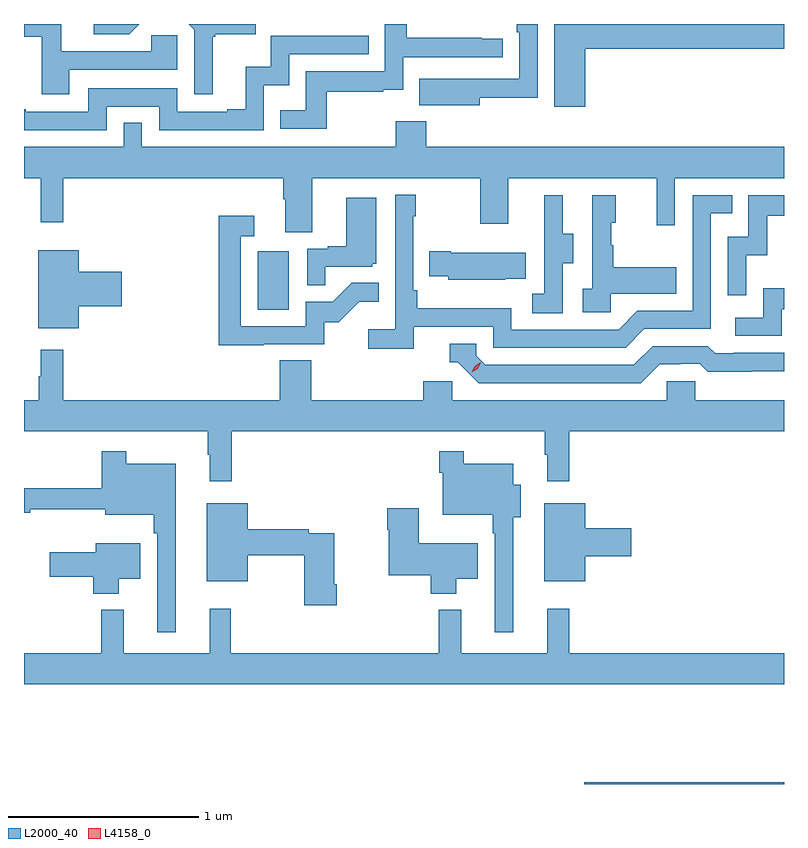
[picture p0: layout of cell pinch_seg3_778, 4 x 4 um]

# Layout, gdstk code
import gdstk
lib = gdstk.Library(unit=1e-6, precision=1e-09)
def R(c, l, rs):  # rectangles x0, y0, x1, y1
    for r in rs: c.add(gdstk.rectangle(r[:2], r[2:], *l))
def P(c, l, *ps):  # polygons
    for p in ps: c.add(gdstk.Polygon(p, *l))
L2000_40 = (2000, 40)
L4158_0 = (4158, 0)

pinch_seg3_778 = lib.new_cell('pinch_seg3_778')
R(pinch_seg3_778, L2000_40, [(820.829,723.035,821.881,723.044), (819.11,725.532,819.274,725.839)])
P(pinch_seg3_778, L2000_40, [(820.834,726.904),(821.881,726.904),(821.881,727.035),(820.673,727.035),(820.673,726.6),(820.834,726.6)],
  [(818.875,726.969),(818.887,726.969),(818.887,726.98),(819.1,726.98),(819.1,727.035),(818.748,727.035),(818.778,727.005),(818.778,726.666),(818.875,726.666)],
  [(818.488,727.035),(818.247,727.035),(818.247,726.981),(818.434,726.981)],
  [(819.475,726.678),(819.773,726.678),(819.773,726.689),(819.876,726.689),(819.876,726.861),(820.402,726.861),(820.402,726.957),(820.289,726.957),(820.289,726.962),(819.896,726.962),(819.896,727.035),(819.78,727.035),(819.78,726.786),(819.364,726.786),(819.364,726.58),(819.229,726.58),(819.229,726.483),(819.475,726.483)],
  [(818.119,726.795),(818.688,726.795),(818.688,726.975),(818.551,726.975),(818.551,726.891),(818.077,726.891),(818.077,727.035),(817.881,727.035),(817.881,726.969),(817.975,726.969),(817.975,726.666),(818.119,726.666)],
  [(820.279,726.646),(820.584,726.646),(820.584,727.035),(820.475,727.035),(820.475,726.992),(820.488,726.992),(820.488,726.747),(820.175,726.747),(820.175,726.748),(819.961,726.748),(819.961,726.608),(820.279,726.608)],
  [(818.316,726.6),(818.592,726.6),(818.592,726.477),(819.144,726.477),(819.144,726.713),(819.276,726.713),(819.276,726.876),(819.695,726.876),(819.695,726.972),(819.18,726.972),(819.18,726.811),(819.047,726.811),(819.047,726.586),(818.951,726.586),(818.951,726.573),(818.688,726.573),(818.688,726.696),(818.22,726.696),(818.22,726.573),(817.891,726.573),(817.891,726.586),(817.881,726.586),(817.881,726.477),(818.316,726.477)],
  [(819.397,726.224),(820.282,726.224),(820.282,725.985),(820.429,725.985),(820.429,726.224),(821.21,726.224),(821.21,725.976),(821.307,725.976),(821.307,726.224),(821.881,726.224),(821.881,726.388),(819.998,726.388),(819.998,726.523),(819.838,726.523),(819.838,726.388),(818.502,726.388),(818.502,726.515),(818.406,726.515),(818.406,726.388),(817.881,726.388),(817.881,726.224),(817.97,726.224),(817.97,725.991),(818.087,725.991),(818.087,726.224),(819.245,726.224),(819.245,726.112),(819.257,726.112),(819.257,725.938),(819.397,725.938)],
  [(819.932,725.442),(820.35,725.442),(820.35,725.331),(821.047,725.331),(821.146,725.43),(821.496,725.43),(821.496,726.039),(821.609,726.039),(821.609,726.135),(821.4,726.135),(821.4,725.526),(821.109,725.526),(821.01,725.427),(820.446,725.427),(820.446,725.539),(819.95,725.539),(819.95,725.635),(819.93,725.635),(819.93,726.023),(819.943,726.023),(819.943,726.136),(819.834,726.136),(819.834,725.428),(819.693,725.428),(819.693,725.326),(819.932,725.326)],
  [(821.682,725.819),(821.792,725.819),(821.792,726.027),(821.881,726.027),(821.881,726.135),(821.694,726.135),(821.694,725.916),(821.586,725.916),(821.586,725.607),(821.682,725.607)],
  [(820.968,725.615),(821.315,725.615),(821.315,725.755),(820.981,725.755),(820.981,725.87),(820.971,725.87),(820.971,725.988),(820.996,725.988),(820.996,726.133),(820.872,726.133),(820.872,725.642),(820.821,725.642),(820.821,725.517),(820.968,725.517)],
  [(820.716,725.776),(820.771,725.776),(820.771,725.931),(820.717,725.931),(820.717,726.133),(820.619,726.133),(820.619,725.919),(820.62,725.919),(820.62,725.615),(820.557,725.615),(820.557,725.512),(820.716,725.512)],
  [(819.467,725.757),(819.714,725.757),(819.714,725.772),(819.736,725.772),(819.736,726.121),(819.578,726.121),(819.578,725.866),(819.479,725.866),(819.479,725.853),(819.372,725.853),(819.372,725.659),(819.467,725.659)],
  [(819.143,725.349),(819.462,725.349),(819.462,725.466),(819.538,725.466),(819.645,725.573),(819.749,725.573),(819.749,725.672),(819.605,725.672),(819.507,725.574),(819.363,725.574),(819.363,725.445),(819.021,725.445),(819.021,725.919),(819.094,725.919),(819.094,726.025),(818.905,726.025),(818.905,725.344),(819.143,725.344)],
  [(818.17,725.549),(818.395,725.549),(818.395,725.732),(818.17,725.732),(818.17,725.845),(817.955,725.845),(817.955,725.435),(818.17,725.435)],
  [(820.415,725.693),(820.523,725.693),(820.523,725.83),(820.126,725.83),(820.126,725.838),(820.015,725.838),(820.015,725.708),(820.113,725.708),(820.113,725.69),(820.415,725.69)],
  [(821.868,725.535),(821.881,725.535),(821.881,725.644),(821.772,725.644),(821.772,725.49),(821.625,725.49),(821.625,725.394),(821.868,725.394)],
  [(821.227,725.244),(821.334,725.244),(821.334,725.247),(821.437,725.247),(821.479,725.205),(821.712,725.205),(821.712,725.207),(821.881,725.207),(821.881,725.304),(821.617,725.304),(821.617,725.301),(821.518,725.301),(821.479,725.34),(821.19,725.34),(821.091,725.241),(820.308,725.241),(820.26,725.289),(820.26,725.352),(820.121,725.352),(820.121,725.256),(820.164,725.256),(820.275,725.145),(821.128,725.145)],
  [(818.975,724.892),(820.623,724.892),(820.623,724.769),(820.634,724.769),(820.634,724.629),(820.751,724.629),(820.751,724.892),(821.881,724.892),(821.881,725.056),(821.415,725.056),(821.415,725.154),(821.265,725.154),(821.265,725.056),(820.134,725.056),(820.134,725.154),(819.983,725.154),(819.983,725.056),(819.392,725.056),(819.392,725.264),(819.227,725.264),(819.227,725.056),(818.087,725.056),(818.087,725.32),(817.97,725.32),(817.97,725.18),(817.959,725.18),(817.959,725.056),(817.881,725.056),(817.881,724.892),(818.847,724.892),(818.847,724.769),(818.858,724.769),(818.858,724.629),(818.975,724.629)],
  [(818.68,724.72),(818.419,724.72),(818.419,724.786),(818.29,724.786),(818.29,724.591),(817.881,724.591),(817.881,724.462),(817.913,724.462),(817.913,724.48),(818.309,724.48),(818.309,724.451),(818.563,724.451),(818.563,724.355),(818.583,724.355),(818.583,723.834),(818.68,723.834)],
  [(820.456,724.439),(820.495,724.439),(820.495,724.609),(820.456,724.609),(820.456,724.72),(820.195,724.72),(820.195,724.786),(820.066,724.786),(820.066,724.673),(820.086,724.673),(820.086,724.451),(820.347,724.451),(820.347,724.355),(820.359,724.355),(820.359,723.834),(820.456,723.834)],
  [(819.527,724.087),(819.514,724.087),(819.514,724.356),(819.38,724.356),(819.38,724.376),(819.058,724.376),(819.058,724.513),(818.843,724.513),(818.843,724.103),(819.058,724.103),(819.058,724.24),(819.356,724.24),(819.356,723.975),(819.527,723.975)],
  [(820.834,724.235),(821.077,724.235),(821.077,724.382),(820.834,724.382),(820.834,724.513),(820.619,724.513),(820.619,724.103),(820.834,724.103)],
  [(820.156,724.115),(820.27,724.115),(820.27,724.303),(819.958,724.303),(819.958,724.486),(819.793,724.486),(819.793,724.373),(819.8,724.373),(819.8,724.133),(820.022,724.133),(820.022,724.037),(820.156,724.037)],
  [(818.38,724.115),(818.494,724.115),(818.494,724.303),(818.258,724.303),(818.258,724.255),(818.016,724.255),(818.016,724.126),(818.246,724.126),(818.246,724.037),(818.38,724.037)],
  [(821.881,723.724),(820.751,723.724),(820.751,723.958),(820.634,723.958),(820.634,723.724),(820.181,723.724),(820.181,723.952),(820.063,723.952),(820.063,723.724),(818.968,723.724),(818.968,723.958),(818.858,723.958),(818.858,723.724),(818.405,723.724),(818.405,723.952),(818.287,723.952),(818.287,723.724),(817.881,723.724),(817.881,723.56),(821.881,723.56)])
P(pinch_seg3_778, L4158_0, [(820.237,725.203),(820.237,725.203),(820.254,725.235),(820.285,725.254),(820.285,725.254),(820.285,725.254),(820.268,725.221),(820.237,725.203)])

lib.write_gds('pinch_seg3_778.gds')
